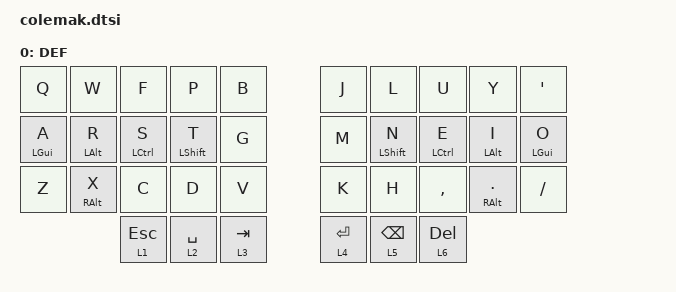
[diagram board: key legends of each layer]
/ {
	keymap {
        compatible = "zmk,keymap";

		default_layer {
			label = "DEF";
			bindings = <
                &kp Q       &kp W       &kp F       &kp P       &kp B       &kp J       &kp L       &kp U       &kp Y       &kp SQT 
                // &lhm LGUI A &lhm LALT R &lhm LCTL S &lhm LSHFT T &kp G      &kp M      &rhm LSHFT N &rhm LCTL E &rhm LALT I &rhm LGUI O 
                &hm LGUI A  &hm LALT R  &hm LCTL S  &hm LSHFT T &kp G       &kp M       &hm LSHFT N &hm LCTL E  &hm LALT I  &hm LGUI O 
                &kp Z       &lhm RALT X &kp C       &kp D       &kp V       &kp K       &kp H       &kp COMMA   &rhm RALT DOT &kp FSLH 
                                        &lt 1 ESC   &lt 2 SPACE &lt 3 TAB   &lt 4 RET   &lt 5 BSPC  &lt 6 DEL
			>;
		};
	};
};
